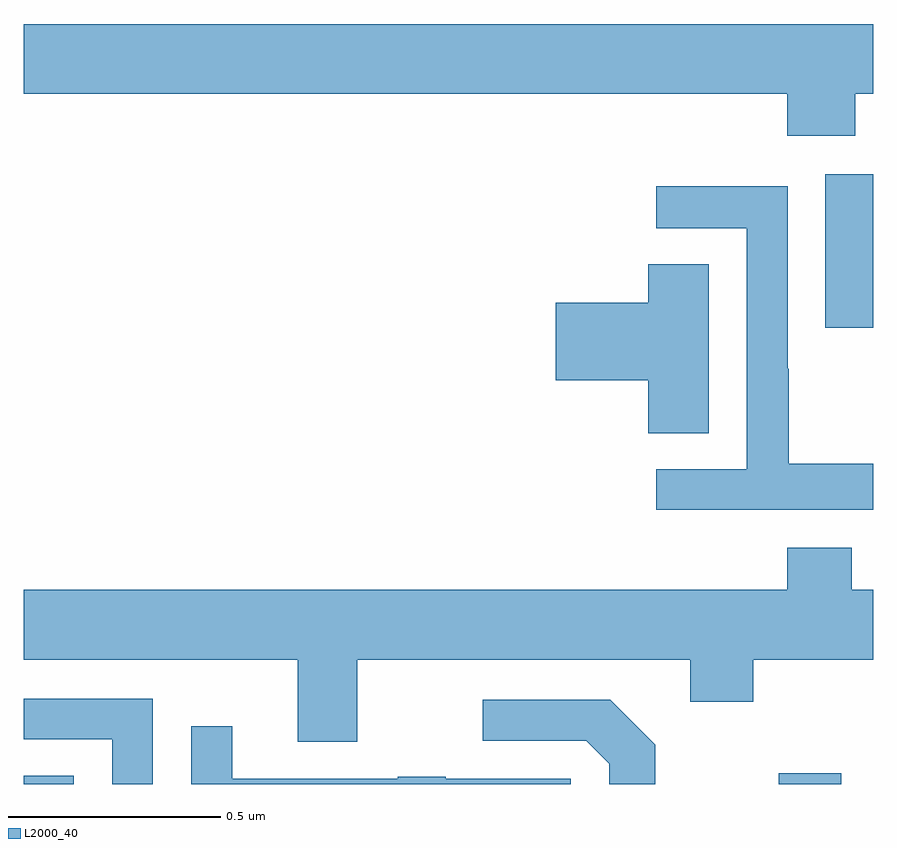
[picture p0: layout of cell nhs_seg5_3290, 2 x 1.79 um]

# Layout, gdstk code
import gdstk
lib = gdstk.Library(unit=1e-6, precision=1e-09)
def R(c, l, rs):  # rectangles x0, y0, x1, y1
    for r in rs: c.add(gdstk.rectangle(r[:2], r[2:], *l))
def P(c, l, *ps):  # polygons
    for p in ps: c.add(gdstk.Polygon(p, *l))
L2000_40 = (2000, 40)

nhs_seg5_3290 = lib.new_cell('nhs_seg5_3290')
R(nhs_seg5_3290, L2000_40, [(155,857.799,155.118,857.819), (156.777,857.799,156.925,857.824), (156.887,858.873,157,859.234)])
P(nhs_seg5_3290, L2000_40, [(156.957,859.424),(157,859.424),(157,859.588),(155,859.588),(155,859.424),(156.797,859.424),(156.797,859.325),(156.957,859.325)],
  [(157,858.553),(156.801,858.553),(156.801,858.776),(156.798,858.776),(156.798,859.206),(156.489,859.206),(156.489,859.107),(156.702,859.107),(156.702,858.54),(156.489,858.54),(156.489,858.444),(157,858.444)],
  [(156.613,859.022),(156.47,859.022),(156.47,858.932),(156.252,858.932),(156.252,858.749),(156.47,858.749),(156.47,858.625),(156.613,858.625)],
  [(156.797,858.355),(156.797,858.256),(155,858.256),(155,858.092),(155.645,858.092),(155.645,857.898),(155.785,857.898),(155.785,858.092),(156.569,858.092),(156.569,857.993),(156.717,857.993),(156.717,858.092),(157,858.092),(157,858.256),(156.949,858.256),(156.949,858.355)],
  [(155.304,858),(155,858),(155,857.904),(155.208,857.904),(155.208,857.799),(155.304,857.799)],
  [(156.487,857.891),(156.381,857.997),(156.081,857.997),(156.081,857.901),(156.324,857.901),(156.378,857.847),(156.378,857.799),(156.487,857.799)],
  [(156.288,857.811),(155.993,857.811),(155.993,857.816),(155.881,857.816),(155.881,857.811),(155.491,857.811),(155.491,857.935),(155.395,857.935),(155.395,857.799),(156.288,857.799)])

lib.write_gds('nhs_seg5_3290.gds')
